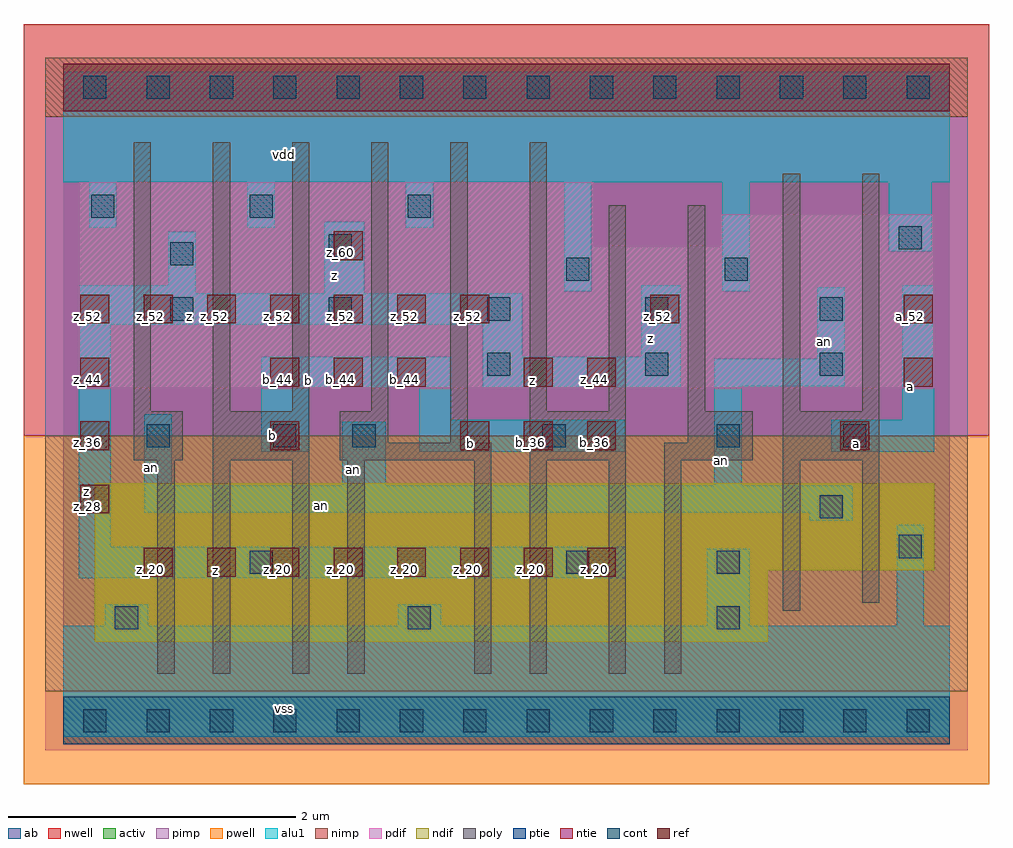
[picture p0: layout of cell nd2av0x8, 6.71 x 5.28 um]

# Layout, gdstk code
import gdstk
lib = gdstk.Library(unit=1e-6, precision=2.5e-09)
def R(c, l, rs):  # rectangles x0, y0, x1, y1
    for r in rs: c.add(gdstk.rectangle(r[:2], r[2:], *l))
def A(c, l, x, y, w, h, nx, ny, dx, dy):  # array of equal rectangles
    R(c, l, [(x+i*dx, y+j*dy, x+i*dx+w, y+j*dy+h) for i in range(nx) for j in range(ny)])
ndif = (3, 0)
pdif = (4, 0)
ntie = (5, 0)
ptie = (6, 0)
ref = (24, 0)
cont = (25, 0)
pwell = (41, 0)
nwell = (42, 0)
activ = (43, 0)
pimp = (44, 0)
nimp = (45, 0)
poly = (46, 0)
alu1 = (49, 0)
ab = (63, 0)

nd2av0x8 = lib.new_cell('nd2av0x8')
R(nd2av0x8, ndif, [(0.22,0.55,4.895,1.045), (0.22,1.045,6.05,1.65)])
R(nd2av0x8, pdif, [(0.11,2.31,6.05,3.3), (0.11,3.3,3.685,3.74), (4.565,3.3,6.05,3.52)])
R(nd2av0x8, ntie, [(0,4.235,6.16,4.565)])
R(nd2av0x8, ptie, [(0,-0.165,6.16,0.165)])
A(nd2av0x8, ref, 0.56, 1, 0.2, 0.2, 8, 1, 0.44, 0)
A(nd2av0x8, ref, 0.12, 1.88, 0.2, 0.2, 3, 1, 1.32, 0)
A(nd2av0x8, ref, 1.44, 2.32, 0.2, 0.2, 3, 1, 0.44, 0)
A(nd2av0x8, ref, 0.12, 2.76, 0.2, 0.2, 7, 1, 0.44, 0)
R(nd2av0x8, ref, [(0.12,1.44,0.32,1.64), (3.2,1.88,3.4,2.08), (3.64,1.88,3.84,2.08), (5.4,1.88,5.6,2.08), (0.12,2.32,0.32,2.52), (3.2,2.32,3.4,2.52), (3.64,2.32,3.84,2.52), (5.84,2.32,6.04,2.52), (4.08,2.76,4.28,2.96), (5.84,2.76,6.04,2.96), (1.88,3.2,2.08,3.4)])
A(nd2av0x8, cont, 0.14, -0.08, 0.16, 0.16, 14, 2, 0.44, 4.4)
A(nd2av0x8, cont, 0.745, 2.78, 0.16, 0.16, 4, 1, 1.1, 0)
A(nd2av0x8, cont, 0.195, 3.495, 0.16, 0.16, 3, 1, 1.1, 0)
R(nd2av0x8, cont, [(0.36,0.635,0.52,0.795), (2.395,0.635,2.555,0.795), (4.54,0.635,4.7,0.795), (1.295,1.02,1.455,1.18), (3.495,1.02,3.655,1.18), (4.54,1.02,4.7,1.18), (5.805,1.13,5.965,1.29), (5.255,1.405,5.415,1.565), (0.58,1.9,0.74,2.06), (1.46,1.9,1.62,2.06), (2.01,1.9,2.17,2.06), (3.33,1.9,3.49,2.06), (4.54,1.9,4.7,2.06), (5.42,1.9,5.58,2.06), (2.945,2.395,3.105,2.555), (4.045,2.395,4.205,2.555), (5.255,2.395,5.415,2.555), (5.255,2.78,5.415,2.94), (3.495,3.055,3.655,3.215), (4.595,3.055,4.755,3.215), (0.745,3.165,0.905,3.325), (1.845,3.22,2.005,3.38), (5.805,3.275,5.965,3.435)])
R(nd2av0x8, pwell, [(-0.275,-0.44,6.435,1.98)])
R(nd2av0x8, nwell, [(-0.275,1.98,6.435,4.84)])
R(nd2av0x8, activ, [(0,-0.165,6.16,0.165), (0.22,0.55,4.895,1.045), (0.22,1.045,6.05,1.65), (0.11,2.31,6.05,3.3), (0.11,3.3,3.685,3.74), (4.565,3.3,6.05,3.52), (0,4.235,6.16,4.565)])
R(nd2av0x8, pimp, [(-0.125,-0.205,6.285,0.205), (-0.125,1.98,6.285,4.195)])
R(nd2av0x8, nimp, [(-0.125,0.205,6.285,1.98), (-0.125,4.195,6.285,4.605)])
A(nd2av0x8, poly, 0.49, 2.15, 0.12, 1.87, 4, 1, 0.55, 0)
R(nd2av0x8, poly, [(0.655,0.325,0.775,1.81), (1.04,0.325,1.16,1.81), (1.59,0.325,1.71,1.81), (1.975,0.325,2.095,1.81), (2.855,0.325,2.975,1.81), (3.24,0.325,3.36,1.81), (3.79,0.325,3.91,1.81), (4.175,0.325,4.295,1.81), (5,0.765,5.12,1.81), (5.55,0.82,5.67,1.81), (0.49,1.81,0.83,2.15), (1.04,1.81,1.71,2.15), (1.92,1.81,2.975,1.93), (3.24,1.81,3.91,2.15), (4.175,1.81,4.79,1.93), (5,1.81,5.67,2.15), (1.92,1.93,2.26,2.15), (2.69,1.93,2.81,4.02), (4.34,1.93,4.79,2.15), (3.24,2.15,3.36,4.02), (3.79,2.15,3.91,3.58), (4.34,2.15,4.46,3.58), (5,2.15,5.12,3.8), (5.55,2.15,5.67,3.8)])
A(nd2av0x8, alu1, 0.18, 3.425, 0.19, 0.315, 3, 1, 1.1, 0)
R(nd2av0x8, alu1, [(0,-0.11,6.16,0.66), (0.29,0.66,0.59,0.81), (2.325,0.66,2.625,0.81), (4.47,0.66,4.77,1.195), (5.79,0.66,5.98,1.36), (0.11,0.99,3.905,1.21), (0.11,1.21,0.33,2.75), (5.185,1.39,5.485,1.445), (0.565,1.445,5.485,1.635), (0.565,1.635,0.755,2.13), (1.94,1.635,2.24,2.075), (4.525,1.635,4.715,2.325), (1.375,1.87,1.705,2.31), (2.475,1.87,3.905,2.09), (5.335,1.87,6.05,2.09), (2.475,2.09,2.695,2.31), (5.83,2.09,6.05,3.025), (1.375,2.31,2.695,2.53), (2.915,2.31,4.29,2.53), (4.525,2.325,5.43,2.515), (5.24,2.515,5.43,3.01), (2.915,2.53,3.19,2.75), (4.015,2.53,4.29,3.025), (0.11,2.75,3.19,2.97), (0.11,2.97,0.92,3.025), (1.815,2.97,2.09,3.465), (3.48,2.985,3.67,3.74), (4.58,2.985,4.77,3.74), (0.73,3.025,0.92,3.395), (5.735,3.26,6.035,3.74), (0,3.74,6.16,4.51)])
R(nd2av0x8, ab, [(0,0,6.16,4.4)])
nd2av0x8.add(gdstk.Label('vss', (1.54,0.0825), layer=49, texttype=0))
nd2av0x8.add(gdstk.Label('z', (1.0575,1.045), layer=49, texttype=0))
nd2av0x8.add(gdstk.Label('an', (1.795,1.4925), layer=49, texttype=0))
nd2av0x8.add(gdstk.Label('a', (5.5125,1.925), layer=49, texttype=0))
nd2av0x8.add(gdstk.Label('a', (5.885,2.3225), layer=49, texttype=0))
nd2av0x8.add(gdstk.Label('an', (4.5725,1.8075), layer=49, texttype=0))
nd2av0x8.add(gdstk.Label('b', (2.8325,1.925), layer=49, texttype=0))
nd2av0x8.add(gdstk.Label('an', (2.015,1.745), layer=49, texttype=0))
nd2av0x8.add(gdstk.Label('b', (1.4575,1.98), layer=49, texttype=0))
nd2av0x8.add(gdstk.Label('an', (0.6125,1.7575), layer=49, texttype=0))
nd2av0x8.add(gdstk.Label('an', (5.2875,2.6375), layer=49, texttype=0))
nd2av0x8.add(gdstk.Label('z', (3.2575,2.365), layer=49, texttype=0))
nd2av0x8.add(gdstk.Label('b', (1.705,2.365), layer=49, texttype=0))
nd2av0x8.add(gdstk.Label('z', (4.0825,2.6525), layer=49, texttype=0))
nd2av0x8.add(gdstk.Label('z', (0.165,1.595), layer=49, texttype=0))
nd2av0x8.add(gdstk.Label('z', (0.88,2.805), layer=49, texttype=0))
nd2av0x8.add(gdstk.Label('z', (1.8825,3.0925), layer=49, texttype=0))
nd2av0x8.add(gdstk.Label('vdd', (1.54,3.9325), layer=49, texttype=0))
nd2av0x8.add(gdstk.Label('a_36', (5.45,1.93), layer=24, texttype=0))
nd2av0x8.add(gdstk.Label('a_44', (5.89,2.37), layer=24, texttype=0))
nd2av0x8.add(gdstk.Label('a_52', (5.89,2.81), layer=24, texttype=0))
nd2av0x8.add(gdstk.Label('z_20', (0.61,1.05), layer=24, texttype=0))
nd2av0x8.add(gdstk.Label('z_52', (0.61,2.81), layer=24, texttype=0))
nd2av0x8.add(gdstk.Label('z_20', (1.05,1.05), layer=24, texttype=0))
nd2av0x8.add(gdstk.Label('z_52', (1.05,2.81), layer=24, texttype=0))
nd2av0x8.add(gdstk.Label('z_20', (1.49,1.05), layer=24, texttype=0))
nd2av0x8.add(gdstk.Label('b_36', (1.49,1.93), layer=24, texttype=0))
nd2av0x8.add(gdstk.Label('b_44', (1.49,2.37), layer=24, texttype=0))
nd2av0x8.add(gdstk.Label('z_52', (1.49,2.81), layer=24, texttype=0))
nd2av0x8.add(gdstk.Label('z_20', (1.93,1.05), layer=24, texttype=0))
nd2av0x8.add(gdstk.Label('b_44', (1.93,2.37), layer=24, texttype=0))
nd2av0x8.add(gdstk.Label('z_52', (1.93,2.81), layer=24, texttype=0))
nd2av0x8.add(gdstk.Label('z_60', (1.93,3.25), layer=24, texttype=0))
nd2av0x8.add(gdstk.Label('z_28', (0.17,1.49), layer=24, texttype=0))
nd2av0x8.add(gdstk.Label('z_36', (0.17,1.93), layer=24, texttype=0))
nd2av0x8.add(gdstk.Label('z_44', (0.17,2.37), layer=24, texttype=0))
nd2av0x8.add(gdstk.Label('z_52', (0.17,2.81), layer=24, texttype=0))
nd2av0x8.add(gdstk.Label('z_20', (2.37,1.05), layer=24, texttype=0))
nd2av0x8.add(gdstk.Label('b_44', (2.37,2.37), layer=24, texttype=0))
nd2av0x8.add(gdstk.Label('z_52', (2.37,2.81), layer=24, texttype=0))
nd2av0x8.add(gdstk.Label('z_20', (2.81,1.05), layer=24, texttype=0))
nd2av0x8.add(gdstk.Label('b_36', (2.81,1.93), layer=24, texttype=0))
nd2av0x8.add(gdstk.Label('z_52', (2.81,2.81), layer=24, texttype=0))
nd2av0x8.add(gdstk.Label('z_20', (3.25,1.05), layer=24, texttype=0))
nd2av0x8.add(gdstk.Label('b_36', (3.25,1.93), layer=24, texttype=0))
nd2av0x8.add(gdstk.Label('z_44', (3.25,2.37), layer=24, texttype=0))
nd2av0x8.add(gdstk.Label('z_20', (3.69,1.05), layer=24, texttype=0))
nd2av0x8.add(gdstk.Label('b_36', (3.69,1.93), layer=24, texttype=0))
nd2av0x8.add(gdstk.Label('z_44', (3.69,2.37), layer=24, texttype=0))
nd2av0x8.add(gdstk.Label('z_52', (4.13,2.81), layer=24, texttype=0))

lib.write_gds('nd2av0x8.gds')
